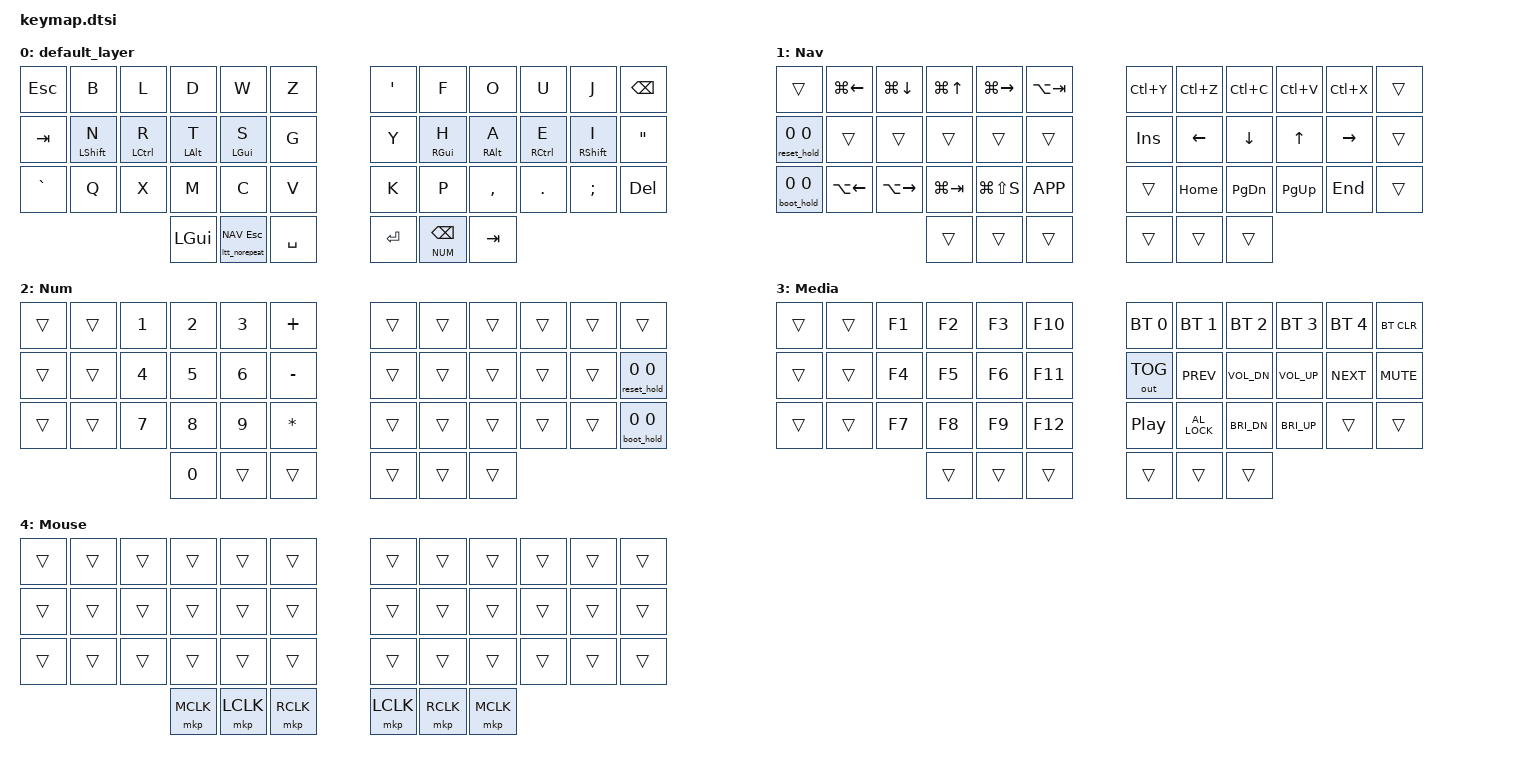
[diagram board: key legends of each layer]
/*
 * Copyright (c) 2020 The ZMK Contributors
 *
 * SPDX-License-Identifier: MIT
 */

#include "./base.dtsi"
#include "./version.dtsi"
#include <dt-bindings/zmk/keys.h>

/ {
        keymap {
                compatible = "zmk,keymap";

                default_layer {
                        display-name = KEYMAP_VERSION;
                        bindings = <
                                &kp ESC         &kp B           &kp L           &kp D           &kp W           &kp Z           &kp SQT         &kp F           &kp O           &kp U           &kp J           &kp BSPC
                                &kp TAB         &hml LSHFT N    &hml LCTRL R    &hml LALT T     &hml LGUI S     &kp G           &kp Y           &hmr RGUI H     &hmr RALT A     &hmr RCTRL E    &hmr RSHFT I    &kp DQT
                                &kp GRAVE       &kp Q           &kp X           &kp M           &kp C           &kp V           &kp K           &kp P           &kp COMMA       &kp DOT         &kp SEMICOLON   &kp DEL
                                                                                &kp LGUI    &ltt_norepeat NAV ESC   &kp SPACE       &kp RET         &ltt NUM BSPC   &kp TAB
                        >;
                };

                // Right hand navigates TEXT, left hand navigates the OS.
                //
                // The outer column carries reset (home row) and bootloader (bottom)
                // for THIS half. They live here rather than on Media because Media
                // is a tri-layer needing a thumb on each half: once the right half
                // enters the bootloader it stops scanning and drops its BLE link, so
                // Media becomes unreachable and the left half could no longer be put
                // into the bootloader. Nav needs only the left thumb, so it still
                // works with the right half absent, flat or already flashing.
                //
                // The left HOME ROW must stay &trans -- that is what keeps the home
                // row mods live for Ctrl+arrow, Shift+arrow and Shift+Home, which is
                // the most valuable thing on this layer. Only rows 0 and 2 are free.
                //
                // Row 0 reads left-to-right as the window snaps, matching the order
                // the arrows read on the right hand. Deliberately omits things that
                // are already trivial on base with a home row mod (Ctrl+F, Ctrl+S):
                // these are the chords that are genuinely awkward otherwise.
                nav_layer {
                        display-name = "Nav";
                        bindings = <
                                &trans          &kp LG(LEFT)    &kp LG(DOWN)    &kp LG(UP)      &kp LG(RIGHT)   &kp LA(TAB)     &kp LC(Y)       &kp LC(Z)       &kp LC(C)       &kp LC(V)       &kp LC(X)       &trans
                                &reset_hold 0 0 &trans          &trans          &trans          &trans          &trans          &kp INS         &kp LEFT        &kp DOWN        &kp UP          &kp RIGHT       &trans
                                &boot_hold 0 0  &kp LA(LEFT)    &kp LA(RIGHT)   &kp LG(TAB)     &kp LG(LS(S))   &kp K_APP       &trans          &kp HOME        &kp PG_DN       &kp PG_UP       &kp END         &trans
                                                                                &trans          &trans          &trans          &trans          &trans          &trans
                        >;
                };

                // Held by the RIGHT thumb, so everything lives on the LEFT hand.
                // Reading order, not numpad order: 1-2-3 / 4-5-6 / 7-8-9 counting
                // from the top left, with 0 continuing onto the outer thumb. This
                // matches the number row, and it is the only direction that also
                // works for F1-F12 on the Media layer, which has no numpad form.
                // Arithmetic sits in the inner column. Symbols stay on the combos.
                //
                // The outer column mirrors Nav: reset on the home row, bootloader
                // below, both acting on the RIGHT half. Nav covers the left half and
                // Num the right, so each is reachable with a single thumb.
                num_layer {
                        display-name = "Num";
                        bindings = <
                                &trans          &trans          &kp N1          &kp N2          &kp N3          &kp PLUS        &trans          &trans          &trans          &trans          &trans          &trans
                                &trans          &trans          &kp N4          &kp N5          &kp N6          &kp MINUS       &trans          &trans          &trans          &trans          &trans          &reset_hold 0 0
                                &trans          &trans          &kp N7          &kp N8          &kp N9          &kp ASTERISK    &trans          &trans          &trans          &trans          &trans          &boot_hold 0 0
                                                                                &kp N0          &trans          &trans          &trans          &trans          &trans
                        >;
                };

                // Reached by holding NAV + NUM together (tri-layer, below).
                // Right hand mirrors the Nav layer's geometry: prev/next sit where
                // left/right are, volume where up/down are, brightness below it.
                // Left hand mirrors the Num layer exactly, so F1-F9 sit on the same
                // keys as 1-9 and the inner column carries F10-F12.
                //
                // reset/bootloader deliberately do NOT live here -- see the Nav layer
                // comment. This layer needs a thumb on each half, so it is exactly
                // the wrong place for the keys you need when one half is missing.
                media_layer {
                        display-name = "Media";
                        bindings = <
                                &trans          &trans          &kp F1          &kp F2          &kp F3          &kp F10         &bt BT_SEL 0    &bt BT_SEL 1    &bt BT_SEL 2    &bt BT_SEL 3    &bt BT_SEL 4    &bt BT_CLR
                                &trans          &trans          &kp F4          &kp F5          &kp F6          &kp F11         &out OUT_TOG    &kp C_PREV      &kp C_VOL_DN    &kp C_VOL_UP    &kp C_NEXT      &kp C_MUTE
                                &trans          &trans          &kp F7          &kp F8          &kp F9          &kp F12         &kp C_PLAY_PAUSE &kp C_AL_LOCK  &kp C_BRI_DN    &kp C_BRI_UP    &trans          &trans
                                                                                &trans          &trans          &trans          &trans          &trans          &trans
                        >;
                };

                // Activated by the Toucan2 trackpad while a finger is down, via the
                // shield's is_touching_processor. Unreachable on the Corne by design.
                mouse_layer {
                        display-name = "Mouse";
                        bindings = <
                                &trans          &trans          &trans          &trans          &trans          &trans          &trans          &trans          &trans          &trans          &trans          &trans
                                &trans          &trans          &trans          &trans          &trans          &trans          &trans          &trans          &trans          &trans          &trans          &trans
                                &trans          &trans          &trans          &trans          &trans          &trans          &trans          &trans          &trans          &trans          &trans          &trans
                                                                                &mkp MCLK       &mkp LCLK       &mkp RCLK       &mkp LCLK       &mkp RCLK       &mkp MCLK
                        >;
                };

        };

        conditional_layers {
                compatible = "zmk,conditional-layers";

                tri_layer {
                        if-layers = <NAV NUM>;
                        then-layer = <MEDIA>;
                };
        };
};
